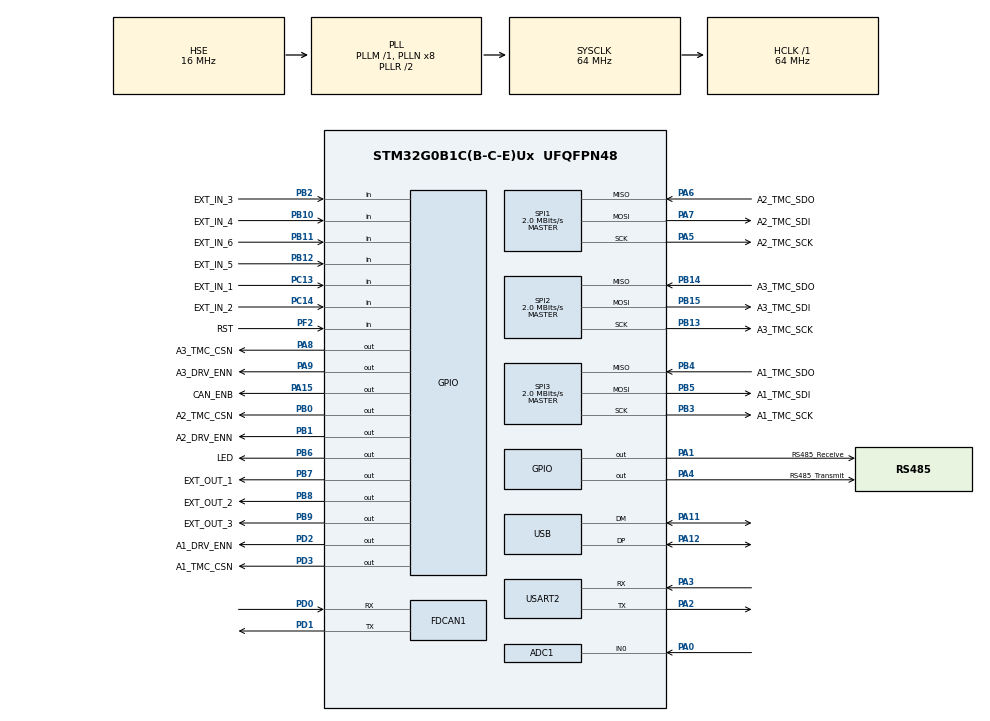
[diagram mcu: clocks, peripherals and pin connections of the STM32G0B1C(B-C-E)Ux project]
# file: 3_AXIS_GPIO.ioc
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ADC1.Channel-0\#ChannelRegularConversion=ADC_CHANNEL_0
ADC1.NbrOfConversionFlag=1
ADC1.Rank-0\#ChannelRegularConversion=1
ADC1.SamplingTime-0\#ChannelRegularConversion=ADC_SAMPLINGTIME_COMMON_1
ADC1.SelectedChannel=ADC_CHANNEL_0
ADC1.master=1
FDCAN1.CalculateBaudRateNominal=1000000
FDCAN1.CalculateTimeBitNominal=1000
FDCAN1.CalculateTimeQuantumNominal=62.5
FDCAN1.DataPrescaler=1
FDCAN1.DataTimeSeg1=10
FDCAN1.DataTimeSeg2=2
FDCAN1.FrameFormat=FDCAN_FRAME_FD_BRS
FDCAN1.NominalPrescaler=4
FDCAN1.NominalTimeSeg1=13
FDCAN1.NominalTimeSeg2=2
Mcu.Family=STM32G0
Mcu.Name=STM32G0B1C(B-C-E)Ux
Mcu.Package=UFQFPN48
NVIC.TIM16_FDCAN_IT0_IRQn=true\:0\:0\:false\:false\:true\:true\:true\:true
NVIC.USART2_LPUART2_IRQn=true\:0\:0\:false\:false\:true\:true\:true\:true
NVIC.USB_UCPD1_2_IRQn=true\:0\:0\:false\:false\:true\:true\:true\:true
PA0.Mode=IN0
PA0.Signal=ADC1_IN0
PA1.GPIO_Label=RS485_Receive
PA1.Signal=GPIO_Output
PA11\ [PA9].Mode=Device
PA11\ [PA9].Signal=USB_DM
PA12\ [PA10].Mode=Device
PA12\ [PA10].Signal=USB_DP
PA13.Mode=Serial_Wire
PA13.Signal=SYS_SWDIO
PA14-BOOT0.Mode=Serial_Wire
PA14-BOOT0.Signal=SYS_SWCLK
PA15.GPIO_Label=CAN_ENB
PA15.Signal=GPIO_Output
PA2.Mode=Asynchronous
PA2.Signal=USART2_TX
PA3.Mode=Asynchronous
PA3.Signal=USART2_RX
PA4.GPIO_Label=RS485_Transmit
PA4.Signal=GPIO_Output
PA5.GPIO_Label=A2_TMC_SCK
PA5.GPIO_Speed=GPIO_SPEED_FREQ_HIGH
PA5.Mode=Full_Duplex_Master
PA5.Signal=SPI1_SCK
PA6.GPIO_Label=A2_TMC_SDO
PA6.GPIO_Speed=GPIO_SPEED_FREQ_HIGH
PA6.Mode=Full_Duplex_Master
PA6.Signal=SPI1_MISO
PA7.GPIO_Label=A2_TMC_SDI
PA7.GPIO_Speed=GPIO_SPEED_FREQ_HIGH
PA7.Mode=Full_Duplex_Master
PA7.Signal=SPI1_MOSI
PA8.GPIO_Label=A3_TMC_CSN
PA8.PinState=GPIO_PIN_SET
PA8.Signal=GPIO_Output
PA9.GPIO_Label=A3_DRV_ENN
PA9.GPIO_PuPd=GPIO_PULLUP
PA9.PinState=GPIO_PIN_SET
PA9.Signal=GPIO_Output
PB0.GPIO_Label=A2_TMC_CSN
PB0.PinState=GPIO_PIN_SET
PB0.Signal=GPIO_Output
PB1.GPIO_Label=A2_DRV_ENN
PB1.GPIO_PuPd=GPIO_PULLUP
PB1.PinState=GPIO_PIN_SET
PB1.Signal=GPIO_Output
PB10.GPIO_Label=EXT_IN_4
PB10.GPIO_Mode=GPIO_MODE_INPUT
PB10.GPIO_PuPd=GPIO_PULLDOWN
PB10.Signal=GPIO_Input
PB11.GPIO_Label=EXT_IN_6
PB11.GPIO_Mode=GPIO_MODE_INPUT
PB11.GPIO_PuPd=GPIO_PULLDOWN
PB11.Signal=GPIO_Input
PB12.GPIO_Label=EXT_IN_5
PB12.GPIO_Mode=GPIO_MODE_INPUT
PB12.GPIO_PuPd=GPIO_PULLDOWN
PB12.Signal=GPIO_Input
PB13.GPIO_Label=A3_TMC_SCK
PB13.GPIO_Speed=GPIO_SPEED_FREQ_HIGH
PB13.Mode=Full_Duplex_Master
PB13.Signal=SPI2_SCK
PB14.GPIO_Label=A3_TMC_SDO
PB14.GPIO_Speed=GPIO_SPEED_FREQ_HIGH
PB14.Mode=Full_Duplex_Master
PB14.Signal=SPI2_MISO
PB15.GPIO_Label=A3_TMC_SDI
PB15.GPIO_Speed=GPIO_SPEED_FREQ_HIGH
PB15.Mode=Full_Duplex_Master
PB15.Signal=SPI2_MOSI
PB2.GPIO_Label=EXT_IN_3
PB2.GPIO_Mode=GPIO_MODE_INPUT
PB2.GPIO_PuPd=GPIO_PULLDOWN
PB2.Signal=GPIO_Input
PB3.GPIO_Label=A1_TMC_SCK
PB3.GPIO_Speed=GPIO_SPEED_FREQ_HIGH
PB3.Mode=Full_Duplex_Master
PB3.PinState=GPIO_PIN_RESET
PB3.Signal=SPI3_SCK
PB4.GPIO_Label=A1_TMC_SDO
PB4.GPIO_Speed=GPIO_SPEED_FREQ_HIGH
PB4.Mode=Full_Duplex_Master
PB4.Signal=SPI3_MISO
PB5.GPIO_Label=A1_TMC_SDI
PB5.GPIO_Speed=GPIO_SPEED_FREQ_HIGH
PB5.Mode=Full_Duplex_Master
PB5.Signal=SPI3_MOSI
PB6.GPIO_Label=LED
PB6.GPIO_PuPd=GPIO_NOPULL
PB6.Signal=GPIO_Output
PB7.GPIO_Label=EXT_OUT_1
PB7.GPIO_ModeDefaultOutputPP=GPIO_MODE_OUTPUT_PP
PB7.GPIO_PuPd=GPIO_PULLDOWN
PB7.Signal=GPIO_Output
PB8.GPIO_Label=EXT_OUT_2
PB8.GPIO_PuPd=GPIO_PULLDOWN
PB8.Signal=GPIO_Output
PB9.GPIO_Label=EXT_OUT_3
PB9.GPIO_PuPd=GPIO_PULLDOWN
PB9.Signal=GPIO_Output
PC13.GPIO_Label=EXT_IN_1
PC13.GPIO_Mode=GPIO_MODE_INPUT
PC13.GPIO_PuPd=GPIO_PULLDOWN
PC13.Signal=GPIO_Input
PC14-OSC32_IN\ (PC14).GPIO_Label=EXT_IN_2
PC14-OSC32_IN\ (PC14).GPIO_Mode=GPIO_MODE_INPUT
PC14-OSC32_IN\ (PC14).GPIO_PuPd=GPIO_PULLDOWN
PC14-OSC32_IN\ (PC14).Signal=GPIO_Input
PD0.GPIO_Speed=GPIO_SPEED_FREQ_HIGH
PD0.Mode=FDCAN_Activate
PD0.Signal=FDCAN1_RX
PD1.GPIO_Speed=GPIO_SPEED_FREQ_HIGH
PD1.Mode=FDCAN_Activate
PD1.Signal=FDCAN1_TX
PD2.GPIO_Label=A1_DRV_ENN
PD2.GPIO_PuPd=GPIO_PULLUP
PD2.PinState=GPIO_PIN_SET
PD2.Signal=GPIO_Output
PD3.GPIO_Label=A1_TMC_CSN
PD3.PinState=GPIO_PIN_SET
PD3.Signal=GPIO_Output
PF0-OSC_IN\ (PF0).Mode=HSE-External-Oscillator
PF0-OSC_IN\ (PF0).Signal=RCC_OSC_IN
PF1-OSC_OUT\ (PF1).Mode=HSE-External-Oscillator
PF1-OSC_OUT\ (PF1).Signal=RCC_OSC_OUT
PF2-NRST.GPIO_Label=RST
PF2-NRST.Signal=GPIO_Input
ProjectManager.HeapSize=0x200
ProjectManager.StackSize=0x400
ProjectManager.TargetToolchain=STM32CubeIDE
RCC.ADCFreq_Value=64000000
RCC.AHBFreq_Value=64000000
RCC.CortexFreq_Value=64000000
RCC.EXTERNAL_CLOCK_VALUE=48000
RCC.HCLKFreq_Value=64000000
RCC.HSE_VALUE=16000000
RCC.HSI48_VALUE=48000000
RCC.HSI_VALUE=16000000
RCC.LSE_VALUE=32768
RCC.PLLSourceVirtual=RCC_PLLSOURCE_HSE
RCC.SYSCLKFreq_VALUE=64000000
RCC.SYSCLKSource=RCC_SYSCLKSOURCE_PLLCLK
RCC.USBFreq_Value=48000000
RCC.VCOOutputFreq_Value=128000000
SPI1.BaudRatePrescaler=SPI_BAUDRATEPRESCALER_32
SPI1.CLKPhase=SPI_PHASE_1EDGE
SPI1.CalculateBaudRate=2.0 MBits/s
SPI1.DataSize=SPI_DATASIZE_8BIT
SPI1.Direction=SPI_DIRECTION_2LINES
SPI1.Mode=SPI_MODE_MASTER
SPI1.VirtualType=VM_MASTER
SPI2.BaudRatePrescaler=SPI_BAUDRATEPRESCALER_32
SPI2.CLKPhase=SPI_PHASE_1EDGE
SPI2.CalculateBaudRate=2.0 MBits/s
SPI2.DataSize=SPI_DATASIZE_8BIT
SPI2.Direction=SPI_DIRECTION_2LINES
SPI2.Mode=SPI_MODE_MASTER
SPI2.VirtualType=VM_MASTER
SPI3.BaudRatePrescaler=SPI_BAUDRATEPRESCALER_32
SPI3.CLKPhase=SPI_PHASE_1EDGE
SPI3.CalculateBaudRate=2.0 MBits/s
SPI3.DataSize=SPI_DATASIZE_8BIT
SPI3.Direction=SPI_DIRECTION_2LINES
SPI3.Mode=SPI_MODE_MASTER
SPI3.VirtualType=VM_MASTER
USART2.VirtualMode-Asynchronous=VM_ASYNC
USB_DEVICE.CLASS_NAME_FS=CDC
USB_DEVICE.VirtualMode=Cdc
USB_DEVICE.VirtualModeFS=Cdc_FS
VP_SYS_VS_DBSignals.Mode=DisableDeadBatterySignals
VP_USB_DEVICE_VS_USB_DEVICE_CDC_FS.Mode=CDC_FS
board=custom

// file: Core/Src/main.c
/* USER CODE BEGIN Header */
/**
  ******************************************************************************
  * @file           : main.c
  * @brief          : Main program body
  ******************************************************************************
  * @attention
  *
  * Copyright (c) 2025 STMicroelectronics.
  * All rights reserved.
  *
  * This software is licensed under terms that can be found in the LICENSE file
  * in the root directory of this software component.
  * If no LICENSE file comes with this software, it is provided AS-IS.
  *
  ******************************************************************************
  * Example: 3_AXIS_GPIO
  * Board: 3-AXIS Stepper Driver
  * Purpose: Demonstrates how the Digital input (5 to 12V), Digital Output (12V)
  * and analog input (5V max) can be controlled
  */
/* USER CODE END Header */
#include "main.h"
#include "usb_device.h"

ADC_HandleTypeDef hadc1;

FDCAN_HandleTypeDef hfdcan1;

SPI_HandleTypeDef hspi1;
SPI_HandleTypeDef hspi2;
SPI_HandleTypeDef hspi3;

UART_HandleTypeDef huart2;

void SystemClock_Config(void);
static void MX_GPIO_Init(void);
static void MX_ADC1_Init(void);
static void MX_FDCAN1_Init(void);
static void MX_SPI1_Init(void);
static void MX_SPI2_Init(void);
static void MX_SPI3_Init(void);
static void MX_USART2_UART_Init(void);
/* USER CODE BEGIN PFP */
void EnterBootloader(void);
void Delay_Blocking(volatile uint32_t count);
/* USER CODE END PFP */

/* USER CODE BEGIN 0 */

/* RAMP config */
RampConfig Ramp_axis_1;
RampConfig Ramp_axis_2;
RampConfig Ramp_axis_3;

/* Current config */
CurrentConfig Current_axis_1;
CurrentConfig Current_axis_2;
CurrentConfig Current_axis_3;

/* User Settings */
const int ENC_ENB_A1 = 0;  // 0 = disable Encoder , 1 = enable Encoder
const int ENC_ENB_A2 = 0;  // 0 = disable Encoder , 1 = enable Encoder
const int ENC_ENB_A3 = 0;  // 0 = disable Encoder , 1 = enable Encoder
const int ENC_HOME_A1 = 0; // 0 = don't reset ENC counter at Z-event, 1 = reset at Z-event (for homing)
const int ENC_HOME_A2 = 0; // 0 = don't reset ENC counter at Z-event, 1 = reset at Z-event (for homing)
const int ENC_HOME_A3 = 0; // 0 = don't reset ENC counter at Z-event, 1 = reset at Z-event (for homing)
const int STG_ENB_A1 = 0;  // 0 = disable Stallguard, 1 = enable Stallguard
const int STG_ENB_A2 = 0;  // 0 = disable Stallguard, 1 = enable Stallguard
const int STG_ENB_A3 = 0;  // 0 = disable Stallguard, 1 = enable Stallguard
const int32_t ENC_Resolution_A1 =  8000; // Encoder resolution
const int32_t ENC_Resolution_A2 =  8000; // Encoder resolution
const int32_t ENC_Resolution_A3 =  8000; // Encoder resolution

/* CAN VARIABLES */
FDCAN_TxHeaderTypeDef CANTxHeader;
FDCAN_RxHeaderTypeDef CANRxHeader;

uint8_t CANTxData[8];	//CANTX data array
uint8_t CANRxData[8];	//CANRX data array
uint8_t RS485TxData[8];	//RS485 data array
uint8_t RS485RxData[8]; // RS485 data array
int Datacheck;			//value for checking incoming CAN Data

/*  CAN RECEIVE INTERRUPT */
void HAL_FDCAN_RxFifo0Callback(FDCAN_HandleTypeDef *hfdcan, uint32_t RxFifo0ITs)
{
    // Check which interrupt triggered this callback
    if ((RxFifo0ITs & FDCAN_IT_RX_FIFO0_NEW_MESSAGE) != 0)
    {
    	HAL_FDCAN_GetRxMessage(hfdcan, FDCAN_RX_FIFO0, &CANRxHeader, CANRxData);

		if (CANRxData[0] == 0x01)
		{
			Datacheck = 1;
		}
    }
}

/* RS485 RECEIVE INTERRUPT */
void HAL_UART_RxCpltCallback(UART_HandleTypeDef *huart2)
{
	if(huart2->Instance == USART2)
	{
		if (RS485RxData[0] == 0x01)  // Check if the received data matches the condition (e.g., 0x01)
		{
			Datacheck = 1;  // Set the Datacheck flag to indicate new data received
		}
	}
}

/* USER CODE END 0 */

int main(void)
{

  /* MCU Configuration--------------------------------------------------------*/

  /* Reset of all peripherals, Initializes the Flash interface and the Systick. */
  HAL_Init();

  /* Configure the system clock */
  SystemClock_Config();

  /* USER CODE BEGIN SysInit */
  SSM_InitAxisConfig();
  /* USER CODE END SysInit */

  /* Initialize all configured peripherals */
  MX_GPIO_Init();
  MX_ADC1_Init();
  MX_FDCAN1_Init();
  MX_SPI1_Init();
  MX_SPI2_Init();
  MX_SPI3_Init();
  MX_USART2_UART_Init();
  MX_USB_Device_Init();
  /* USER CODE BEGIN 2 */
  TMC5160_Drive_Enable(0, 1); // turn off 1
  TMC5160_Drive_Enable(0, 2); // turn off 2
  TMC5160_Drive_Enable(0, 3); // turn off 3

  //Read IN1 (5V to 12V) (port 1 to 6)
  Read_IN(1);

  //Write OUT1 high(12V) for 1 sec (port 1 to 3)
  Toggle_OUT(1,1000);

  /* Or directly control the pin with:
   *  HAL_GPIO_WritePin(GPIOB,EXT_OUT_1_Pin,1)
   *  HAL_Delay(delay in ms);
   *  HAL_GPIO_WritePin(GPIOB,EXT_OUT_1_Pin,0)
   */

  /* Analog read check, AIN max = 5V , circuit has voltage devider for 3.3V max.*/
  Read_AIN(); //returns Anlog value

  /* USER CODE END 2 */

  /* Infinite loop */
  while (1)
  {

    /* USER CODE BEGIN 3 */
	 HAL_GPIO_WritePin(LED_GPIO_Port, LED_Pin, 1);
	 HAL_Delay(500);
	 HAL_GPIO_WritePin(LED_GPIO_Port, LED_Pin, 0); // turn off LED
	 HAL_Delay(500);

	 if (enterBootloaderRequested)
	 {
		 HAL_Delay(200);

	     EnterBootloader();
	 }
  }
  /* USER CODE END 3 */
}

void SystemClock_Config(void)
{
  RCC_OscInitTypeDef RCC_OscInitStruct = {0};
  RCC_ClkInitTypeDef RCC_ClkInitStruct = {0};

  /** Configure the main internal regulator output voltage
  */
  HAL_PWREx_ControlVoltageScaling(PWR_REGULATOR_VOLTAGE_SCALE1);

  /** Initializes the RCC Oscillators according to the specified parameters
  * in the RCC_OscInitTypeDef structure.
  */
  RCC_OscInitStruct.OscillatorType = RCC_OSCILLATORTYPE_HSE|RCC_OSCILLATORTYPE_HSI48;
  RCC_OscInitStruct.HSEState = RCC_HSE_ON;
  RCC_OscInitStruct.HSI48State = RCC_HSI48_ON;
  RCC_OscInitStruct.PLL.PLLState = RCC_PLL_ON;
  RCC_OscInitStruct.PLL.PLLSource = RCC_PLLSOURCE_HSE;
  RCC_OscInitStruct.PLL.PLLM = RCC_PLLM_DIV1;
  RCC_OscInitStruct.PLL.PLLN = 8;
  RCC_OscInitStruct.PLL.PLLP = RCC_PLLP_DIV2;
  RCC_OscInitStruct.PLL.PLLQ = RCC_PLLQ_DIV2;
  RCC_OscInitStruct.PLL.PLLR = RCC_PLLR_DIV2;
  if (HAL_RCC_OscConfig(&RCC_OscInitStruct) != HAL_OK)
  {
    Error_Handler();
  }

  /** Initializes the CPU, AHB and APB buses clocks
  */
  RCC_ClkInitStruct.ClockType = RCC_CLOCKTYPE_HCLK|RCC_CLOCKTYPE_SYSCLK
                              |RCC_CLOCKTYPE_PCLK1;
  RCC_ClkInitStruct.SYSCLKSource = RCC_SYSCLKSOURCE_PLLCLK;
  RCC_ClkInitStruct.AHBCLKDivider = RCC_SYSCLK_DIV1;
  RCC_ClkInitStruct.APB1CLKDivider = RCC_HCLK_DIV1;

  if (HAL_RCC_ClockConfig(&RCC_ClkInitStruct, FLASH_LATENCY_2) != HAL_OK)
  {
    Error_Handler();
  }
}

static void MX_ADC1_Init(void)
{

  ADC_ChannelConfTypeDef sConfig = {0};

  /** Configure the global features of the ADC (Clock, Resolution, Data Alignment and number of conversion)
  */
  hadc1.Instance = ADC1;
  hadc1.Init.ClockPrescaler = ADC_CLOCK_SYNC_PCLK_DIV2;
  hadc1.Init.Resolution = ADC_RESOLUTION_12B;
  hadc1.Init.DataAlign = ADC_DATAALIGN_RIGHT;
  hadc1.Init.ScanConvMode = ADC_SCAN_DISABLE;
  hadc1.Init.EOCSelection = ADC_EOC_SINGLE_CONV;
  hadc1.Init.LowPowerAutoWait = DISABLE;
  hadc1.Init.LowPowerAutoPowerOff = DISABLE;
  hadc1.Init.ContinuousConvMode = DISABLE;
  hadc1.Init.NbrOfConversion = 1;
  hadc1.Init.DiscontinuousConvMode = DISABLE;
  hadc1.Init.ExternalTrigConv = ADC_SOFTWARE_START;
  hadc1.Init.ExternalTrigConvEdge = ADC_EXTERNALTRIGCONVEDGE_NONE;
  hadc1.Init.DMAContinuousRequests = DISABLE;
  hadc1.Init.Overrun = ADC_OVR_DATA_PRESERVED;
  hadc1.Init.SamplingTimeCommon1 = ADC_SAMPLETIME_1CYCLE_5;
  hadc1.Init.SamplingTimeCommon2 = ADC_SAMPLETIME_1CYCLE_5;
  hadc1.Init.OversamplingMode = DISABLE;
  hadc1.Init.TriggerFrequencyMode = ADC_TRIGGER_FREQ_HIGH;
  if (HAL_ADC_Init(&hadc1) != HAL_OK)
  {
    Error_Handler();
  }

  /** Configure Regular Channel
  */
  sConfig.Channel = ADC_CHANNEL_0;
  sConfig.Rank = ADC_REGULAR_RANK_1;
  sConfig.SamplingTime = ADC_SAMPLINGTIME_COMMON_1;
  if (HAL_ADC_ConfigChannel(&hadc1, &sConfig) != HAL_OK)
  {
    Error_Handler();
  }

}

static void MX_FDCAN1_Init(void)
{

  hfdcan1.Instance = FDCAN1;
  hfdcan1.Init.ClockDivider = FDCAN_CLOCK_DIV1;
  hfdcan1.Init.FrameFormat = FDCAN_FRAME_FD_BRS;
  hfdcan1.Init.Mode = FDCAN_MODE_NORMAL;
  hfdcan1.Init.AutoRetransmission = DISABLE;
  hfdcan1.Init.TransmitPause = DISABLE;
  hfdcan1.Init.ProtocolException = DISABLE;
  hfdcan1.Init.NominalPrescaler = 4;
  hfdcan1.Init.NominalSyncJumpWidth = 1;
  hfdcan1.Init.NominalTimeSeg1 = 13;
  hfdcan1.Init.NominalTimeSeg2 = 2;
  hfdcan1.Init.DataPrescaler = 1;
  hfdcan1.Init.DataSyncJumpWidth = 1;
  hfdcan1.Init.DataTimeSeg1 = 10;
  hfdcan1.Init.DataTimeSeg2 = 2;
  hfdcan1.Init.StdFiltersNbr = 0;
  hfdcan1.Init.ExtFiltersNbr = 0;
  hfdcan1.Init.TxFifoQueueMode = FDCAN_TX_FIFO_OPERATION;
  if (HAL_FDCAN_Init(&hfdcan1) != HAL_OK)
  {
    Error_Handler();
  }
  /* USER CODE BEGIN FDCAN1_Init 2 */
  FDCAN_FilterTypeDef sFilter;
  sFilter.IdType = FDCAN_STANDARD_ID;
  sFilter.FilterIndex = 1;
  sFilter.FilterType = FDCAN_FILTER_MASK;
  sFilter.FilterConfig = FDCAN_FILTER_TO_RXFIFO0;
  sFilter.FilterID1 = 0x000;
  sFilter.FilterID2 = 0x000;
  HAL_FDCAN_ConfigFilter(&hfdcan1, &sFilter);
  /* USER CODE END FDCAN1_Init 2 */

}

static void MX_SPI1_Init(void)
{

  /* SPI1 parameter configuration*/
  hspi1.Instance = SPI1;
  hspi1.Init.Mode = SPI_MODE_MASTER;
  hspi1.Init.Direction = SPI_DIRECTION_2LINES;
  hspi1.Init.DataSize = SPI_DATASIZE_8BIT;
  hspi1.Init.CLKPolarity = SPI_POLARITY_LOW;
  hspi1.Init.CLKPhase = SPI_PHASE_1EDGE;
  hspi1.Init.NSS = SPI_NSS_SOFT;
  hspi1.Init.BaudRatePrescaler = SPI_BAUDRATEPRESCALER_32;
  hspi1.Init.FirstBit = SPI_FIRSTBIT_MSB;
  hspi1.Init.TIMode = SPI_TIMODE_DISABLE;
  hspi1.Init.CRCCalculation = SPI_CRCCALCULATION_DISABLE;
  hspi1.Init.CRCPolynomial = 7;
  hspi1.Init.CRCLength = SPI_CRC_LENGTH_DATASIZE;
  hspi1.Init.NSSPMode = SPI_NSS_PULSE_ENABLE;
  if (HAL_SPI_Init(&hspi1) != HAL_OK)
  {
    Error_Handler();
  }

}

static void MX_SPI2_Init(void)
{

  /* SPI2 parameter configuration*/
  hspi2.Instance = SPI2;
  hspi2.Init.Mode = SPI_MODE_MASTER;
  hspi2.Init.Direction = SPI_DIRECTION_2LINES;
  hspi2.Init.DataSize = SPI_DATASIZE_8BIT;
  hspi2.Init.CLKPolarity = SPI_POLARITY_LOW;
  hspi2.Init.CLKPhase = SPI_PHASE_1EDGE;
  hspi2.Init.NSS = SPI_NSS_SOFT;
  hspi2.Init.BaudRatePrescaler = SPI_BAUDRATEPRESCALER_32;
  hspi2.Init.FirstBit = SPI_FIRSTBIT_MSB;
  hspi2.Init.TIMode = SPI_TIMODE_DISABLE;
  hspi2.Init.CRCCalculation = SPI_CRCCALCULATION_DISABLE;
  hspi2.Init.CRCPolynomial = 7;
  hspi2.Init.CRCLength = SPI_CRC_LENGTH_DATASIZE;
  hspi2.Init.NSSPMode = SPI_NSS_PULSE_ENABLE;
  if (HAL_SPI_Init(&hspi2) != HAL_OK)
  {
    Error_Handler();
  }

}

static void MX_SPI3_Init(void)
{

  /* SPI3 parameter configuration*/
  hspi3.Instance = SPI3;
  hspi3.Init.Mode = SPI_MODE_MASTER;
  hspi3.Init.Direction = SPI_DIRECTION_2LINES;
  hspi3.Init.DataSize = SPI_DATASIZE_8BIT;
  hspi3.Init.CLKPolarity = SPI_POLARITY_LOW;
  hspi3.Init.CLKPhase = SPI_PHASE_1EDGE;
  hspi3.Init.NSS = SPI_NSS_SOFT;
  hspi3.Init.BaudRatePrescaler = SPI_BAUDRATEPRESCALER_32;
  hspi3.Init.FirstBit = SPI_FIRSTBIT_MSB;
  hspi3.Init.TIMode = SPI_TIMODE_DISABLE;
  hspi3.Init.CRCCalculation = SPI_CRCCALCULATION_DISABLE;
  hspi3.Init.CRCPolynomial = 7;
  hspi3.Init.CRCLength = SPI_CRC_LENGTH_DATASIZE;
  hspi3.Init.NSSPMode = SPI_NSS_PULSE_ENABLE;
  if (HAL_SPI_Init(&hspi3) != HAL_OK)
  {
    Error_Handler();
  }

}

static void MX_USART2_UART_Init(void)
{

  huart2.Instance = USART2;
  huart2.Init.BaudRate = 115200;
  huart2.Init.WordLength = UART_WORDLENGTH_8B;
  huart2.Init.StopBits = UART_STOPBITS_1;
  huart2.Init.Parity = UART_PARITY_NONE;
  huart2.Init.Mode = UART_MODE_TX_RX;
  huart2.Init.HwFlowCtl = UART_HWCONTROL_NONE;
  huart2.Init.OverSampling = UART_OVERSAMPLING_16;
  huart2.Init.OneBitSampling = UART_ONE_BIT_SAMPLE_DISABLE;
  huart2.Init.ClockPrescaler = UART_PRESCALER_DIV1;
  huart2.AdvancedInit.AdvFeatureInit = UART_ADVFEATURE_NO_INIT;
  if (HAL_UART_Init(&huart2) != HAL_OK)
  {
    Error_Handler();
  }
  if (HAL_UARTEx_SetTxFifoThreshold(&huart2, UART_TXFIFO_THRESHOLD_1_8) != HAL_OK)
  {
    Error_Handler();
  }
  if (HAL_UARTEx_SetRxFifoThreshold(&huart2, UART_RXFIFO_THRESHOLD_1_8) != HAL_OK)
  {
    Error_Handler();
  }
  if (HAL_UARTEx_DisableFifoMode(&huart2) != HAL_OK)
  {
    Error_Handler();
  }

}

static void MX_GPIO_Init(void)
{
  GPIO_InitTypeDef GPIO_InitStruct = {0};

  /* GPIO Ports Clock Enable */
  __HAL_RCC_GPIOC_CLK_ENABLE();
  __HAL_RCC_GPIOF_CLK_ENABLE();
  __HAL_RCC_GPIOA_CLK_ENABLE();
  __HAL_RCC_GPIOB_CLK_ENABLE();
  __HAL_RCC_GPIOD_CLK_ENABLE();

  /*Configure GPIO pin Output Level */
  HAL_GPIO_WritePin(GPIOA, RS485_Receive_Pin|RS485_Transmit_Pin|CAN_ENB_Pin, GPIO_PIN_RESET);

  /*Configure GPIO pin Output Level */
  HAL_GPIO_WritePin(GPIOB, A2_TMC_CSN_Pin|A2_DRV_ENN_Pin, GPIO_PIN_SET);

  /*Configure GPIO pin Output Level */
  HAL_GPIO_WritePin(GPIOA, A3_TMC_CSN_Pin|A3_DRV_ENN_Pin, GPIO_PIN_SET);

  /*Configure GPIO pin Output Level */
  HAL_GPIO_WritePin(GPIOD, A1_DRV_ENN_Pin|A1_TMC_CSN_Pin, GPIO_PIN_SET);

  /*Configure GPIO pin Output Level */
  HAL_GPIO_WritePin(GPIOB, LED_Pin|EXT_OUT_1_Pin|EXT_OUT_2_Pin|EXT_OUT_3_Pin, GPIO_PIN_RESET);

  /*Configure GPIO pins : EXT_IN_1_Pin EXT_IN_2_Pin */
  GPIO_InitStruct.Pin = EXT_IN_1_Pin|EXT_IN_2_Pin;
  GPIO_InitStruct.Mode = GPIO_MODE_INPUT;
  GPIO_InitStruct.Pull = GPIO_PULLDOWN;
  HAL_GPIO_Init(GPIOC, &GPIO_InitStruct);

  /*Configure GPIO pin : RST_Pin */
  GPIO_InitStruct.Pin = RST_Pin;
  GPIO_InitStruct.Mode = GPIO_MODE_INPUT;
  GPIO_InitStruct.Pull = GPIO_NOPULL;
  HAL_GPIO_Init(RST_GPIO_Port, &GPIO_InitStruct);

  /*Configure GPIO pins : RS485_Receive_Pin RS485_Transmit_Pin A3_TMC_CSN_Pin CAN_ENB_Pin */
  GPIO_InitStruct.Pin = RS485_Receive_Pin|RS485_Transmit_Pin|A3_TMC_CSN_Pin|CAN_ENB_Pin;
  GPIO_InitStruct.Mode = GPIO_MODE_OUTPUT_PP;
  GPIO_InitStruct.Pull = GPIO_NOPULL;
  GPIO_InitStruct.Speed = GPIO_SPEED_FREQ_LOW;
  HAL_GPIO_Init(GPIOA, &GPIO_InitStruct);

  /*Configure GPIO pins : A2_TMC_CSN_Pin LED_Pin */
  GPIO_InitStruct.Pin = A2_TMC_CSN_Pin|LED_Pin;
  GPIO_InitStruct.Mode = GPIO_MODE_OUTPUT_PP;
  GPIO_InitStruct.Pull = GPIO_NOPULL;
  GPIO_InitStruct.Speed = GPIO_SPEED_FREQ_LOW;
  HAL_GPIO_Init(GPIOB, &GPIO_InitStruct);

  /*Configure GPIO pin : A2_DRV_ENN_Pin */
  GPIO_InitStruct.Pin = A2_DRV_ENN_Pin;
  GPIO_InitStruct.Mode = GPIO_MODE_OUTPUT_PP;
  GPIO_InitStruct.Pull = GPIO_PULLUP;
  GPIO_InitStruct.Speed = GPIO_SPEED_FREQ_LOW;
  HAL_GPIO_Init(A2_DRV_ENN_GPIO_Port, &GPIO_InitStruct);

  /*Configure GPIO pins : EXT_IN_3_Pin EXT_IN_4_Pin EXT_IN_6_Pin EXT_IN_5_Pin */
  GPIO_InitStruct.Pin = EXT_IN_3_Pin|EXT_IN_4_Pin|EXT_IN_6_Pin|EXT_IN_5_Pin;
  GPIO_InitStruct.Mode = GPIO_MODE_INPUT;
  GPIO_InitStruct.Pull = GPIO_PULLDOWN;
  HAL_GPIO_Init(GPIOB, &GPIO_InitStruct);

  /*Configure GPIO pin : A3_DRV_ENN_Pin */
  GPIO_InitStruct.Pin = A3_DRV_ENN_Pin;
  GPIO_InitStruct.Mode = GPIO_MODE_OUTPUT_PP;
  GPIO_InitStruct.Pull = GPIO_PULLUP;
  GPIO_InitStruct.Speed = GPIO_SPEED_FREQ_LOW;
  HAL_GPIO_Init(A3_DRV_ENN_GPIO_Port, &GPIO_InitStruct);

  /*Configure GPIO pin : A1_DRV_ENN_Pin */
  GPIO_InitStruct.Pin = A1_DRV_ENN_Pin;
  GPIO_InitStruct.Mode = GPIO_MODE_OUTPUT_PP;
  GPIO_InitStruct.Pull = GPIO_PULLUP;
  GPIO_InitStruct.Speed = GPIO_SPEED_FREQ_LOW;
  HAL_GPIO_Init(A1_DRV_ENN_GPIO_Port, &GPIO_InitStruct);

  /*Configure GPIO pin : A1_TMC_CSN_Pin */
  GPIO_InitStruct.Pin = A1_TMC_CSN_Pin;
  GPIO_InitStruct.Mode = GPIO_MODE_OUTPUT_PP;
  GPIO_InitStruct.Pull = GPIO_NOPULL;
  GPIO_InitStruct.Speed = GPIO_SPEED_FREQ_LOW;
  HAL_GPIO_Init(A1_TMC_CSN_GPIO_Port, &GPIO_InitStruct);

  /*Configure GPIO pins : EXT_OUT_1_Pin EXT_OUT_2_Pin EXT_OUT_3_Pin */
  GPIO_InitStruct.Pin = EXT_OUT_1_Pin|EXT_OUT_2_Pin|EXT_OUT_3_Pin;
  GPIO_InitStruct.Mode = GPIO_MODE_OUTPUT_PP;
  GPIO_InitStruct.Pull = GPIO_PULLDOWN;
  GPIO_InitStruct.Speed = GPIO_SPEED_FREQ_LOW;
  HAL_GPIO_Init(GPIOB, &GPIO_InitStruct);

}

/* USER CODE BEGIN 4 */
void EnterBootloader(void)
{
	  uint32_t bootAddr = SYS_MEM_BOOT_ADDR;
	  boot_func_t bootEntry;

	  // Disable all interrupts
	  __disable_irq();

	  extern USBD_HandleTypeDef hUsbDeviceFS;

	  USBD_Stop(&hUsbDeviceFS);
	  USBD_DeInit(&hUsbDeviceFS);

	  // Disable USB peripheral clock
	  __HAL_RCC_USB_CLK_DISABLE();

	  // Force USB D+ line low
	  __HAL_RCC_GPIOA_CLK_ENABLE();
	  GPIO_InitTypeDef gpio = {0};
	  gpio.Pin = GPIO_PIN_12;
	  gpio.Mode = GPIO_MODE_OUTPUT_PP;
	  gpio.Pull = GPIO_NOPULL;
	  gpio.Speed = GPIO_SPEED_FREQ_LOW;
	  HAL_GPIO_Init(GPIOA, &gpio);
	  HAL_GPIO_WritePin(GPIOA, GPIO_PIN_12, GPIO_PIN_RESET);

      Delay_Blocking(4000000);

	  // Deinitialize HAL / periphs
	  HAL_RCC_DeInit();
	  HAL_DeInit();

	  Delay_Blocking(4000000);

	  // Set stack pointer from system memory vector table
	  __set_MSP(*(uint32_t *)bootAddr);

	  // Read reset vector (entry point) from system memory
	  uint32_t resetVec = *(uint32_t *)(bootAddr + 4);
	  bootEntry = (boot_func_t)resetVec;

	  bootEntry();
}

void Delay_Blocking(volatile uint32_t count)
{
    while (count--) {
        __NOP();
    }
}
/* USER CODE END 4 */

void Error_Handler(void)
{
  /* USER CODE BEGIN Error_Handler_Debug */
  /* User can add his own implementation to report the HAL error return state */

  if(enterBootloaderRequested == 1)
  {
	  EnterBootloader();
  }

  __disable_irq();

  while (1)
  {
  }
  /* USER CODE END Error_Handler_Debug */
}
